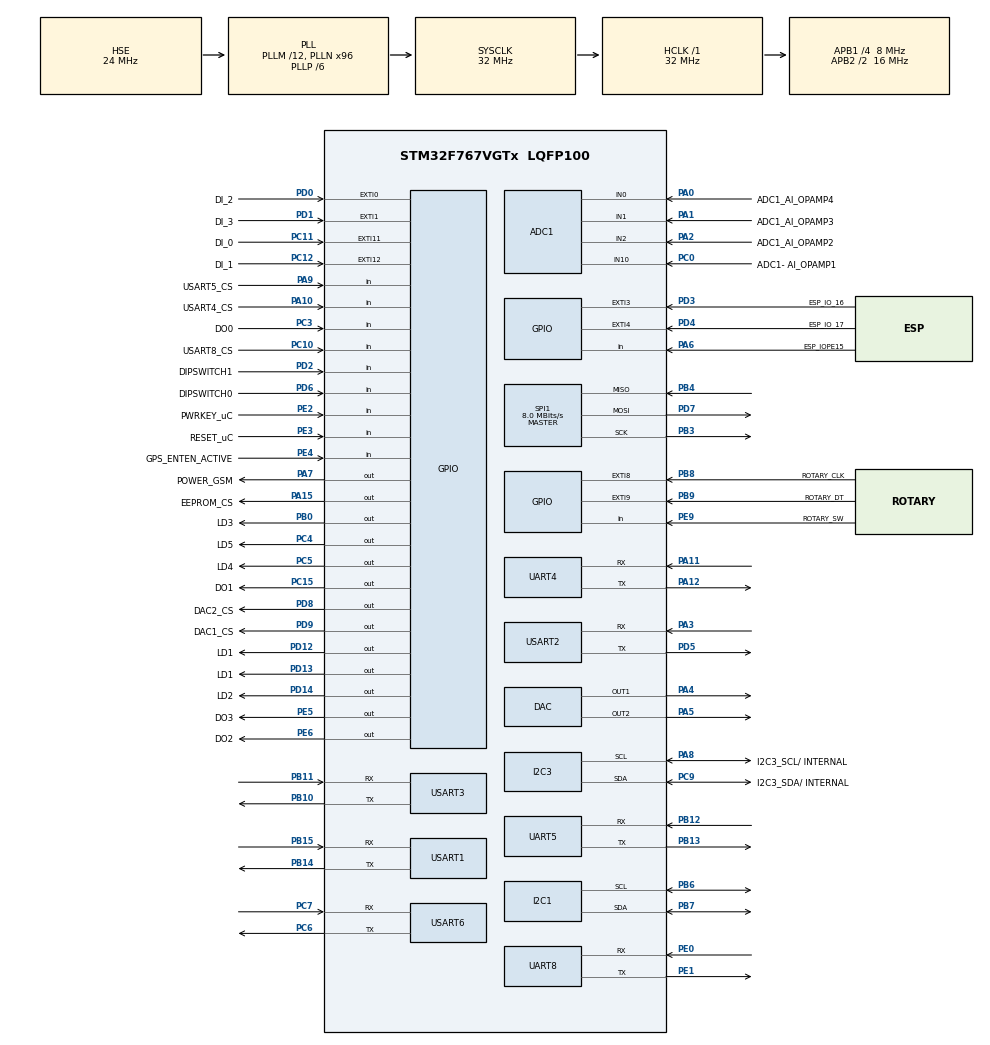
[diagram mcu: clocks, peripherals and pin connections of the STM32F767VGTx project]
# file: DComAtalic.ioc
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ADC1.Channel-0\#ChannelRegularConversion=ADC_CHANNEL_10
ADC1.NbrOfConversionFlag=1
ADC1.Rank-0\#ChannelRegularConversion=1
ADC1.SamplingTime-0\#ChannelRegularConversion=ADC_SAMPLETIME_3CYCLES
ADC1.master=1
I2C1.Timing=0x2000090E
I2C3.Timing=0x2000090E
Mcu.Family=STM32F7
Mcu.Name=STM32F767VGTx
Mcu.Package=LQFP100
NVIC.ADC_IRQn=true\:0\:0\:false\:false\:true\:true\:true
NVIC.EXTI0_IRQn=true\:0\:0\:false\:false\:true\:true\:true
NVIC.EXTI15_10_IRQn=true\:0\:0\:false\:false\:true\:true\:true
NVIC.EXTI1_IRQn=true\:0\:0\:false\:false\:true\:true\:true
NVIC.EXTI3_IRQn=true\:0\:0\:false\:false\:true\:true\:true
NVIC.EXTI4_IRQn=true\:0\:0\:false\:false\:true\:true\:true
NVIC.EXTI9_5_IRQn=true\:0\:0\:false\:false\:true\:true\:true
NVIC.I2C1_EV_IRQn=true\:0\:0\:false\:false\:true\:true\:true
NVIC.I2C3_EV_IRQn=true\:0\:0\:false\:false\:true\:true\:true
NVIC.PriorityGroup=NVIC_PRIORITYGROUP_4
NVIC.SPI1_IRQn=true\:0\:0\:false\:false\:true\:true\:true
NVIC.TIM1_TRG_COM_TIM11_IRQn=true\:0\:0\:false\:false\:true\:true\:true
NVIC.TIM1_UP_TIM10_IRQn=true\:0\:0\:false\:false\:true\:true\:true
NVIC.TIM3_IRQn=true\:0\:0\:false\:false\:true\:true\:true
NVIC.TIM4_IRQn=true\:0\:0\:false\:false\:true\:true\:true
NVIC.TIM6_DAC_IRQn=true\:0\:0\:false\:false\:true\:true\:true
NVIC.TIM8_BRK_TIM12_IRQn=true\:0\:0\:false\:false\:true\:true\:true
NVIC.TIM8_UP_TIM13_IRQn=true\:0\:0\:false\:false\:true\:true\:true
NVIC.UART4_IRQn=true\:0\:0\:false\:false\:true\:true\:true
NVIC.UART8_IRQn=true\:0\:0\:false\:false\:true\:true\:true
NVIC.USART1_IRQn=true\:0\:0\:false\:false\:true\:true\:true
NVIC.USART2_IRQn=true\:0\:0\:false\:false\:true\:true\:true
NVIC.USART3_IRQn=true\:0\:0\:false\:false\:true\:true\:true
NVIC.USART6_IRQn=true\:0\:0\:false\:false\:true\:true\:true
PA0/WKUP.GPIO_Label=ADC1_AI_OPAMP4
PA0/WKUP.Signal=ADCx_IN0
PA1.GPIO_Label=ADC1_AI_OPAMP3
PA1.Signal=ADCx_IN1
PA10.GPIO_Label=USART4_CS
PA10.Signal=GPIO_Input
PA11.Mode=Asynchronous
PA11.Signal=UART4_RX
PA12.Mode=Asynchronous
PA12.Signal=UART4_TX
PA13.Mode=Serial_Wire
PA13.Signal=SYS_JTMS-SWDIO
PA14.Mode=Serial_Wire
PA14.Signal=SYS_JTCK-SWCLK
PA15.GPIO_Label=EEPROM_CS
PA15.Signal=GPIO_Output
PA2.GPIO_Label=ADC1_AI_OPAMP2
PA2.Signal=ADCx_IN2
PA3.Mode=Asynchronous
PA3.Signal=USART2_RX
PA4.Signal=COMP_DAC1_group
PA5.Signal=COMP_DAC2_group
PA6.GPIO_Label=ESP_IOPE15
PA6.Signal=GPIO_Input
PA7.GPIO_Label=POWER_GSM
PA7.Signal=GPIO_Output
PA8.GPIO_Label=I2C3_SCL/ INTERNAL
PA8.Mode=I2C
PA8.Signal=I2C3_SCL
PA9.GPIO_Label=USART5_CS
PA9.Signal=GPIO_Input
PB0.GPIO_Label=LD3
PB0.Signal=GPIO_Output
PB10.Mode=Asynchronous
PB10.Signal=USART3_TX
PB11.Mode=Asynchronous
PB11.Signal=USART3_RX
PB12.Mode=Asynchronous
PB12.Signal=UART5_RX
PB13.Mode=Asynchronous
PB13.Signal=UART5_TX
PB14.Mode=Asynchronous
PB14.Signal=USART1_TX
PB15.Mode=Asynchronous
PB15.Signal=USART1_RX
PB3.Mode=Full_Duplex_Master
PB3.Signal=SPI1_SCK
PB4.Mode=Full_Duplex_Master
PB4.Signal=SPI1_MISO
PB6.Mode=I2C
PB6.Signal=I2C1_SCL
PB7.Mode=I2C
PB7.Signal=I2C1_SDA
PB8.GPIO_Label=ROTARY_CLK
PB8.Signal=GPXTI8
PB9.GPIO_Label=ROTARY_DT
PB9.Signal=GPXTI9
PC0.GPIO_Label=ADC1- AI_OPAMP1
PC0.Signal=ADCx_IN10
PC10.GPIO_Label=USART8_CS
PC10.Signal=GPIO_Input
PC11.GPIO_Label=DI_0
PC11.Signal=GPXTI11
PC12.GPIO_Label=DI_1
PC12.Signal=GPXTI12
PC15/OSC32_OUT.GPIO_Label=DO1
PC15/OSC32_OUT.Signal=GPIO_Output
PC3.GPIO_Label=DO0
PC3.Signal=GPIO_Input
PC4.GPIO_Label=LD5
PC4.Signal=GPIO_Output
PC5.GPIO_Label=LD4
PC5.Signal=GPIO_Output
PC6.Mode=Asynchronous
PC6.Signal=USART6_TX
PC7.Mode=Asynchronous
PC7.Signal=USART6_RX
PC9.GPIO_Label=I2C3_SDA/ INTERNAL
PC9.Mode=I2C
PC9.Signal=I2C3_SDA
PD0.GPIO_Label=DI_2
PD0.Signal=GPXTI0
PD1.GPIO_Label=DI_3
PD1.Signal=GPXTI1
PD12.GPIO_Label=LD1
PD12.Signal=GPIO_Output
PD13.GPIO_Label=LD1
PD13.Signal=GPIO_Output
PD14.GPIO_Label=LD2
PD14.Signal=GPIO_Output
PD2.GPIO_Label=DIPSWITCH1
PD2.Signal=GPIO_Input
PD3.GPIO_Label=ESP_IO_16
PD3.Signal=GPXTI3
PD4.GPIO_Label=ESP_IO_17
PD4.Signal=GPXTI4
PD5.Mode=Asynchronous
PD5.Signal=USART2_TX
PD6.GPIO_Label=DIPSWITCH0
PD6.Signal=GPIO_Input
PD7.Mode=Full_Duplex_Master
PD7.Signal=SPI1_MOSI
PD8.GPIO_Label=DAC2_CS
PD8.Signal=GPIO_Output
PD9.GPIO_Label=DAC1_CS
PD9.Signal=GPIO_Output
PE0.Mode=Asynchronous
PE0.Signal=UART8_RX
PE1.Mode=Asynchronous
PE1.Signal=UART8_TX
PE2.GPIO_Label=PWRKEY_uC
PE2.Signal=GPIO_Input
PE3.GPIO_Label=RESET_uC
PE3.Signal=GPIO_Input
PE4.GPIO_Label=GPS_ENTEN_ACTIVE
PE4.Signal=GPIO_Input
PE5.GPIO_Label=DO3
PE5.Signal=GPIO_Output
PE6.GPIO_Label=DO2
PE6.Signal=GPIO_Output
PE9.GPIO_Label=ROTARY_SW
PE9.Signal=GPIO_Input
PH0/OSC_IN.Mode=HSE-External-Oscillator
PH0/OSC_IN.Signal=RCC_OSC_IN
PH1/OSC_OUT.Mode=HSE-External-Oscillator
PH1/OSC_OUT.Signal=RCC_OSC_OUT
ProjectManager.HeapSize=0x200
ProjectManager.StackSize=0x400
ProjectManager.TargetToolchain=TrueSTUDIO
RCC.AHBFreq_Value=32000000
RCC.APB1CLKDivider=RCC_HCLK_DIV4
RCC.APB1Freq_Value=8000000
RCC.APB1TimFreq_Value=16000000
RCC.APB2CLKDivider=RCC_HCLK_DIV2
RCC.APB2Freq_Value=16000000
RCC.APB2TimFreq_Value=32000000
RCC.CortexFreq_Value=32000000
RCC.HCLKFreq_Value=32000000
RCC.HSE_VALUE=24000000
RCC.HSI_VALUE=16000000
RCC.LSE_VALUE=32768
RCC.PLLM=12
RCC.PLLN=96
RCC.PLLP=RCC_PLLP_DIV6
RCC.PLLSourceVirtual=RCC_PLLSOURCE_HSE
RCC.SYSCLKFreq_VALUE=32000000
RCC.SYSCLKSource=RCC_SYSCLKSOURCE_PLLCLK
RCC.USBFreq_Value=96000000
RCC.VCOOutputFreq_Value=192000000
SH.ADCx_IN0.0=ADC1_IN0,IN0
SH.ADCx_IN1.0=ADC1_IN1,IN1
SH.ADCx_IN10.0=ADC1_IN10,IN10
SH.ADCx_IN2.0=ADC1_IN2,IN2
SH.COMP_DAC1_group.0=DAC_OUT1,DAC_OUT1
SH.COMP_DAC2_group.0=DAC_OUT2,DAC_OUT2
SPI1.CalculateBaudRate=8.0 MBits/s
SPI1.Direction=SPI_DIRECTION_2LINES
SPI1.Mode=SPI_MODE_MASTER
SPI1.VirtualType=VM_MASTER
USART1.VirtualMode-Asynchronous=VM_ASYNC
USART2.VirtualMode-Asynchronous=VM_ASYNC
USART3.VirtualMode-Asynchronous=VM_ASYNC
USART6.VirtualMode=VM_ASYNC
VP_TIM10_VS_ClockSourceINT.Mode=Enable_Timer
VP_TIM11_VS_ClockSourceINT.Mode=Enable_Timer
VP_TIM12_VS_ClockSourceINT.Mode=Internal
VP_TIM1_VS_ClockSourceINT.Mode=Internal
VP_TIM3_VS_ClockSourceINT.Mode=Internal
VP_TIM4_VS_ClockSourceINT.Mode=Internal
VP_TIM5_VS_ClockSourceINT.Mode=Internal
VP_TIM6_VS_ClockSourceINT.Mode=Enable_Timer
VP_TIM7_VS_ClockSourceINT.Mode=Enable_Timer
VP_TIM8_VS_ClockSourceINT.Mode=Internal
board=custom

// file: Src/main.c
/* USER CODE BEGIN Header */
/**
  ******************************************************************************
  * @file           : main.c
  * @brief          : Main program body
  ******************************************************************************
  * @attention
  *
  * <h2><center>&copy; Copyright (c) 2020 STMicroelectronics.
  * All rights reserved.</center></h2>
  *
  * This software component is licensed by ST under BSD 3-Clause license,
  * the "License"; You may not use this file except in compliance with the
  * License. You may obtain a copy of the License at:
  *                        opensource.org/licenses/BSD-3-Clause
  *
  ******************************************************************************
  */
/* USER CODE END Header */

#include "main.h"
#include "adc.h"
#include "dac.h"
#include "i2c.h"
#include "spi.h"
#include "tim.h"
#include "usart.h"
#include "gpio.h"

/* USER CODE BEGIN Includes */
#include "../PROCESS/Inc/process.h"
#include "../PROCESS/Inc/user_definitions.h"
/* USER CODE END Includes */
//Test Commit //TODO test 2 commit

void SystemClock_Config(void);
/* USER CODE BEGIN PFP */
void initInterrupts(void);
void systemInit(void);
/* USER CODE END PFP */

/* USER CODE BEGIN 0 */
//TODO SPI values must be configurative from user config
//TODO Test Commit 4
//Variable Declerations
unsigned char ucaPLCUartTxData[PLC_UART_TX_BUFFER_LENGHT];
unsigned char ucaPLCUartRxData[PLC_UART_RX_BUFFER_LENGHT];
unsigned char ucUartTimerDataPacketFlag;
unsigned char ucUartPLCTimerPacketFinishedFlag;
unsigned char ucTimer4Counter=0;
//
volatile unsigned char last_enc_val_clk;
volatile unsigned char last_enc_val_dt;
volatile unsigned char uartFirstStartFlag;
//Function Definitions
void mainCheckUartHartBeat( UART_HandleTypeDef *huart){
	if(huart->Instance==HUART_PLC_INSTANCE){
		if(*sSytemVar.sUart.ucpUartPLCDataReadyFlag==UART_FL_SET)
			*sSytemVar.sUart.ucpUartPLCDataReadyFlag=UART_FL_RESET;
		*sSytemVar.sTimer.ucpTimer4Counter =0;// reset timer
	}
}
void mainCheckRotary(_SYS *sys){
	unsigned char enc_val_clk, enc_val_dt;
	unsigned char enc_inc, enc_dec;

	enc_val_clk = (uint8_t) HAL_GPIO_ReadPin(ROTARY_CLK_GPIO_Port,ROTARY_CLK_Pin);
	enc_val_dt = (uint8_t) HAL_GPIO_ReadPin(ROTARY_DT_GPIO_Port,ROTARY_DT_Pin);
	enc_inc = enc_val_clk ^ last_enc_val_dt;
	enc_dec = enc_val_dt ^ last_enc_val_clk;
	if(enc_inc){
		sSytemVar.sPeripheral.iRotaryCounter++;
		sSytemVar.sPeripheral.cRotaryOrientation='R';
	}
	if(enc_dec){
		sSytemVar.sPeripheral.iRotaryCounter--;
		sSytemVar.sPeripheral.cRotaryOrientation='L';
	}
	last_enc_val_clk = enc_val_clk;
	last_enc_val_dt = enc_val_dt;
}
void HAL_GPIO_EXTI_Callback(uint16_t GPIO_Pin){
	if(GPIO_Pin==ROTARY_CLK_Pin ||GPIO_Pin==ROTARY_DT_Pin){
		mainCheckRotary(&sSytemVar);
	}
}

void HAL_UART_RxCpltCallback(UART_HandleTypeDef *huart){
	if(huart->Instance==HUART_PLC_INSTANCE){
			HAL_UART_Receive_IT(sSytemVar.sUart.hpUartPLC,sSytemVar.sUart.ucpUartPLCRxDataBuffer,PLC_UART_RX_BUFFER_LENGHT);
	}
}
void HAL_TIM_PeriodElapsedCallback(TIM_HandleTypeDef *htim){
	if(htim->Instance==TIM4){	// for uart
		if(*sSytemVar.sUart.ucpUartPLCDataReadyFlag==UART_FL_RESET){
			(*sSytemVar.sTimer.ucpTimer4Counter)++;
			if(*sSytemVar.sTimer.ucpTimer4Counter>PLC_PACKET_FINISHED_COUNTER_LENGHT){
				*sSytemVar.sUart.ucpUartPLCPacketFinishedFlag=UART_FL_SET;
				*sSytemVar.sUart.ucpUartPLCDataReadyFlag=UART_FL_SET;
			}
		}
	}
	else if(htim->Instance==TIM5){

	}
	else if(htim->Instance==TIM6){

	}
	else if(htim->Instance==TIM7){

	}
	else if(htim->Instance==TIM8){

	}
}

void initTimer(void){
	//timer 4 for uart packet checking with 10 ms interval for 32 mHz
	htim4.Instance = TIM4;
	htim4.Init.Prescaler = 4;
	htim4.Init.CounterMode = TIM_COUNTERMODE_UP;
	htim4.Init.Period = 63999;
	HAL_TIM_Base_Init(&htim4);

	// timer 5 100 ms for 32 mHz
	htim5.Instance = TIM5;
	htim5.Init.Prescaler = 499;
	htim5.Init.CounterMode = TIM_COUNTERMODE_UP;
	htim5.Init.Period = 63999;
	HAL_TIM_Base_Init(&htim5);

	// timer 6 1 second for 32 mHz
	htim6.Instance = TIM6;
	htim6.Init.Prescaler = 279;
	htim6.Init.CounterMode = TIM_COUNTERMODE_UP;
	htim6.Init.Period = 63999;
	HAL_TIM_Base_Init(&htim6);

	// timer 7 500 ms for 32 mHz
	htim7.Instance = TIM7;
	htim7.Init.Prescaler = 249;
	htim7.Init.CounterMode = TIM_COUNTERMODE_UP;
	htim7.Init.Period = 63999;
	HAL_TIM_Base_Init(&htim7);

	// timer 8 500 ms for 32 mHz
	htim8.Instance = TIM8;
	htim8.Init.Prescaler = 249;
	htim8.Init.CounterMode = TIM_COUNTERMODE_UP;
	htim8.Init.Period = 63999;
	HAL_TIM_Base_Init(&htim8);
}

void initSystemPointerAddress(void){
	//UART
	sSytemVar.sUart.hpUartPLC=&HUART_PLC;
	sSytemVar.sUart.ucpUartPLCDataReadyFlag=&ucUartTimerDataPacketFlag;
	sSytemVar.sUart.ucpUartPLCPacketFinishedFlag=&ucUartPLCTimerPacketFinishedFlag;
	sSytemVar.sUart.ucpUartPLCRxDataBuffer=ucaPLCUartRxData;
	sSytemVar.sUart.ucpUartPLCTxDataBuffer=ucaPLCUartTxData;
	HAL_UART_Receive_IT(sSytemVar.sUart.hpUartPLC,sSytemVar.sUart.ucpUartPLCRxDataBuffer,PLC_UART_RX_BUFFER_LENGHT);
	//TIMER
	sSytemVar.sTimer.ucpTimer4Counter=&ucTimer4Counter;
}

void initInterrupts(){
	//init UARTS
	HAL_UART_Receive_IT(sSytemVar.sUart.hpUartPLC,sSytemVar.sUart.ucpUartPLCRxDataBuffer,PLC_UART_RX_BUFFER_LENGHT);
	//init TIMERS
	HAL_TIM_Base_Start_IT(&htim4);
}

void systemInit(void){
	*sSytemVar.sUart.ucpUartPLCDataReadyFlag=UART_FL_SET;
	initTimer();
	initSystemPointerAddress();
	initInterrupts();
}
/* USER CODE END 0 */

int main(void)
{

  /* MCU Configuration--------------------------------------------------------*/

  /* Reset of all peripherals, Initializes the Flash interface and the Systick. */
  HAL_Init();

  /* Configure the system clock */
  SystemClock_Config();

  /* Initialize all configured peripherals */
  MX_GPIO_Init();
  MX_ADC1_Init();
  MX_DAC_Init();
  MX_I2C1_Init();
  MX_I2C3_Init();
  MX_SPI1_Init();
  MX_TIM1_Init();
  MX_TIM3_Init();
  MX_TIM4_Init();
  MX_TIM5_Init();
  MX_TIM6_Init();
  MX_TIM7_Init();
  MX_TIM8_Init();
  MX_TIM10_Init();
  MX_TIM11_Init();
  MX_TIM12_Init();
  MX_UART4_Init();
  MX_UART5_Init();
  MX_UART8_Init();
  MX_USART1_UART_Init();
  MX_USART2_UART_Init();
  MX_USART3_UART_Init();
  MX_USART6_UART_Init();
  /* USER CODE BEGIN 2 */
	systemInit();
	prsInit();
  /* USER CODE END 2 */

  /* Infinite loop */
  while (1)
  {

    /* USER CODE BEGIN 3 */
	  prsLoop();
  }
  /* USER CODE END 3 */
}

void SystemClock_Config(void)
{
  RCC_OscInitTypeDef RCC_OscInitStruct = {0};
  RCC_ClkInitTypeDef RCC_ClkInitStruct = {0};
  RCC_PeriphCLKInitTypeDef PeriphClkInitStruct = {0};

  /** Configure the main internal regulator output voltage
  */
  __HAL_RCC_PWR_CLK_ENABLE();
  __HAL_PWR_VOLTAGESCALING_CONFIG(PWR_REGULATOR_VOLTAGE_SCALE3);
  /** Initializes the CPU, AHB and APB busses clocks
  */
  RCC_OscInitStruct.OscillatorType = RCC_OSCILLATORTYPE_HSE;
  RCC_OscInitStruct.HSEState = RCC_HSE_ON;
  RCC_OscInitStruct.PLL.PLLState = RCC_PLL_ON;
  RCC_OscInitStruct.PLL.PLLSource = RCC_PLLSOURCE_HSE;
  RCC_OscInitStruct.PLL.PLLM = 12;
  RCC_OscInitStruct.PLL.PLLN = 96;
  RCC_OscInitStruct.PLL.PLLP = RCC_PLLP_DIV6;
  RCC_OscInitStruct.PLL.PLLQ = 2;
  if (HAL_RCC_OscConfig(&RCC_OscInitStruct) != HAL_OK)
  {
    Error_Handler();
  }
  /** Initializes the CPU, AHB and APB busses clocks
  */
  RCC_ClkInitStruct.ClockType = RCC_CLOCKTYPE_HCLK|RCC_CLOCKTYPE_SYSCLK
                              |RCC_CLOCKTYPE_PCLK1|RCC_CLOCKTYPE_PCLK2;
  RCC_ClkInitStruct.SYSCLKSource = RCC_SYSCLKSOURCE_PLLCLK;
  RCC_ClkInitStruct.AHBCLKDivider = RCC_SYSCLK_DIV1;
  RCC_ClkInitStruct.APB1CLKDivider = RCC_HCLK_DIV4;
  RCC_ClkInitStruct.APB2CLKDivider = RCC_HCLK_DIV2;

  if (HAL_RCC_ClockConfig(&RCC_ClkInitStruct, FLASH_LATENCY_1) != HAL_OK)
  {
    Error_Handler();
  }
  PeriphClkInitStruct.PeriphClockSelection = RCC_PERIPHCLK_USART1|RCC_PERIPHCLK_USART2
                              |RCC_PERIPHCLK_USART3|RCC_PERIPHCLK_USART6
                              |RCC_PERIPHCLK_UART4|RCC_PERIPHCLK_UART5
                              |RCC_PERIPHCLK_UART8|RCC_PERIPHCLK_I2C1
                              |RCC_PERIPHCLK_I2C3;
  PeriphClkInitStruct.Usart1ClockSelection = RCC_USART1CLKSOURCE_PCLK2;
  PeriphClkInitStruct.Usart2ClockSelection = RCC_USART2CLKSOURCE_PCLK1;
  PeriphClkInitStruct.Usart3ClockSelection = RCC_USART3CLKSOURCE_PCLK1;
  PeriphClkInitStruct.Uart4ClockSelection = RCC_UART4CLKSOURCE_PCLK1;
  PeriphClkInitStruct.Uart5ClockSelection = RCC_UART5CLKSOURCE_PCLK1;
  PeriphClkInitStruct.Usart6ClockSelection = RCC_USART6CLKSOURCE_PCLK2;
  PeriphClkInitStruct.Uart8ClockSelection = RCC_UART8CLKSOURCE_PCLK1;
  PeriphClkInitStruct.I2c1ClockSelection = RCC_I2C1CLKSOURCE_PCLK1;
  PeriphClkInitStruct.I2c3ClockSelection = RCC_I2C3CLKSOURCE_PCLK1;
  if (HAL_RCCEx_PeriphCLKConfig(&PeriphClkInitStruct) != HAL_OK)
  {
    Error_Handler();
  }
}

void Error_Handler(void)
{
}

/************************ (C) COPYRIGHT STMicroelectronics *****END OF FILE****/
